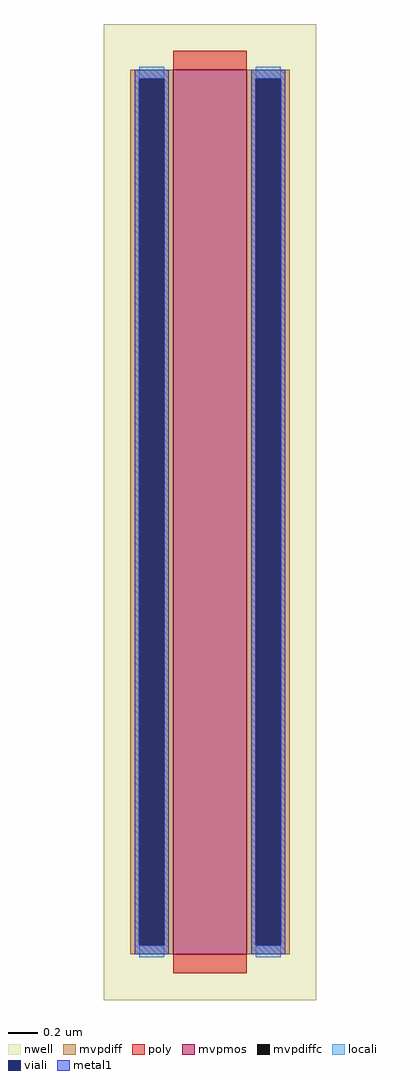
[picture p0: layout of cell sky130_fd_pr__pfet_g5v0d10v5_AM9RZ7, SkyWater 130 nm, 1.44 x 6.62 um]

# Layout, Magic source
magic
tech sky130A
<< nwell >>
rect -72 -331 72 331
<< mvpmos >>
rect -25 -300 25 300
<< mvpdiff >>
rect -54 294 -25 300
rect -54 -294 -48 294
rect -31 -294 -25 294
rect -54 -300 -25 -294
rect 25 294 54 300
rect 25 -294 31 294
rect 48 -294 54 294
rect 25 -300 54 -294
<< mvpdiffc >>
rect -48 -294 -31 294
rect 31 -294 48 294
<< poly >>
rect -25 300 25 313
rect -25 -313 25 -300
<< locali >>
rect -48 294 -31 302
rect -48 -302 -31 -294
rect 31 294 48 302
rect 31 -302 48 -294
<< viali >>
rect -48 -294 -31 294
rect 31 -294 48 294
<< metal1 >>
rect -51 294 -28 300
rect -51 -294 -48 294
rect -31 -294 -28 294
rect -51 -300 -28 -294
rect 28 294 51 300
rect 28 -294 31 294
rect 48 -294 51 294
rect 28 -300 51 -294
<< properties >>
string gencell sky130_fd_pr__pfet_g5v0d10v5
string library sky130
string parameters w 6 l 0.5 m 1 nf 1 diffcov 100 polycov 100 guard 0 glc 1 grc 1 gtc 1 gbc 1 tbcov 100 rlcov 100 topc 0 botc 0 poverlap 0 doverlap 1 lmin 0.50 wmin 0.42 compatible {sky130_fd_pr__pfet_01v8  sky130_fd_pr__pfet_01v8_lvt sky130_fd_pr__pfet_01v8_hvt  sky130_fd_pr__pfet_g5v0d10v5} full_metal 1 viasrc 100 viadrn 100 viagate 100 viagb 0 viagr 0 viagl 0 viagt 0
<< end >>
